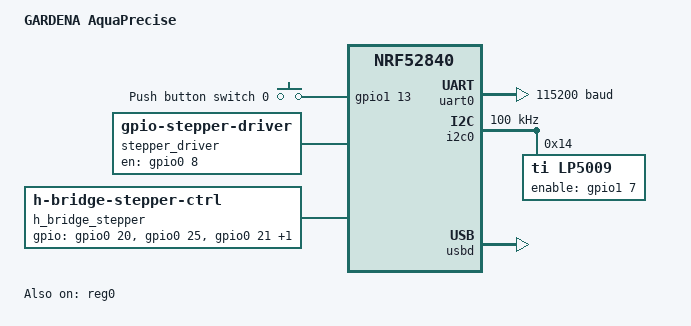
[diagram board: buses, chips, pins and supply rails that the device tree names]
/*
 * Copyright (c) 2026 Reto Schneider
 *
 * SPDX-License-Identifier: Apache-2.0
 */

/dts-v1/;
#include <nordic/nrf52840_qiaa.dtsi>
#include <nordic/nrf52840_partition.dtsi>
#include <zephyr/dt-bindings/led/led.h>
#include "aqua_precise-pinctrl.dtsi"

/ {
	model = "GARDENA AquaPrecise";
	compatible = "gardena,boac-nrf52840", "nordic,nrf52840";

	chosen {
		zephyr,bt-mon-uart = &uart0;
		zephyr,bt-c2h-uart = &uart0;
		zephyr,console = &uart0;
		zephyr,flash = &flash0;
		zephyr,shell-uart = &uart0;
		zephyr,uart-mcumgr = &uart0;
	};

	buttons {
		compatible = "gpio-keys";
		button0: button_0 {
			gpios = <&gpio1 13 (GPIO_ACTIVE_HIGH)>;
			label = "Push button switch 0";
			zephyr,code = <INPUT_KEY_0>;
		};
	};

	stepper_driver: stepper_driver {
		compatible = "zephyr,gpio-stepper-driver";
		status = "okay";

		en-gpios = <&gpio0 8 (GPIO_ACTIVE_HIGH)>;
	};

	h_bridge_stepper: h_bridge_stepper {
		compatible = "zephyr,h-bridge-stepper-ctrl";
		lut-step-gap = <1>;
		status = "okay";

		gpios = <&gpio0 20 (GPIO_ACTIVE_HIGH)>, /* Lead A1/A */
		        <&gpio0 25 (GPIO_ACTIVE_HIGH)>, /* Lead B1/B */
		        <&gpio0 21 (GPIO_ACTIVE_HIGH)>, /* Lead A2/C */
		        <&gpio0 11 (GPIO_ACTIVE_HIGH)>; /* Lead B2/D */
	};

	/* These aliases are provided for compatibility with samples */
	aliases {
		sw0 = &button0;
		stepper-driver = &stepper_driver;
		stepper-ctrl = &h_bridge_stepper;
		watchdog0 = &wdt0;
	};
};

&reg0 {
	status = "okay";
};

&reg1 {
	regulator-initial-mode = <NRF5X_REG_MODE_DCDC>;
};

&uicr {
	gpio-as-nreset;
};

&gpiote {
	status = "okay";
};

&gpio0 {
	status = "okay";
};

&gpio1 {
	status = "okay";
};

&uart0 {
	compatible = "nordic,nrf-uarte";
	status = "okay";
	current-speed = <115200>;
	pinctrl-0 = <&uart0_default>;
	pinctrl-1 = <&uart0_sleep>;
	pinctrl-names = "default", "sleep";
};

&i2c0 {
	compatible = "nordic,nrf-twi";
	status = "okay";
	pinctrl-0 = <&i2c0_default>;
	pinctrl-1 = <&i2c0_sleep>;
	pinctrl-names = "default", "sleep";
	clock-frequency = <100000>;

	/* TI LP5009 LED controller for HMI connected to i2c0. */
	lp5009@14 {
		compatible = "ti,lp5009";
		reg = <0x14>;
		enable-gpios = <&gpio1 7 GPIO_ACTIVE_HIGH>;

		/* The LEDs have a stange mapping due to the schematics. */
		led_ble {
			label = "LED Bluetooth";
			index = <0>;
			color-mapping = <LED_COLOR_ID_BLUE>; /* OUT0 */
		};
		led_power { /* hardware wiring is wrong, messes up the drivers logic */
			label = "LED Power";
			index = <0>;
			color-mapping = <LED_COLOR_ID_SKIP    /* OUT0 - used by BLE LED! */
			                 LED_COLOR_ID_RED     /* OUT1 */
			                 LED_COLOR_ID_GREEN>; /* OUT2 */
		};
		led_watering {
			label = "LED Watering";
			index = <1>;
			color-mapping = <LED_COLOR_ID_BLUE>; /* OUT3 */
		};
	};
};

zephyr_udc0: &usbd {
	compatible = "nordic,nrf-usbd";
	status = "okay";
};
